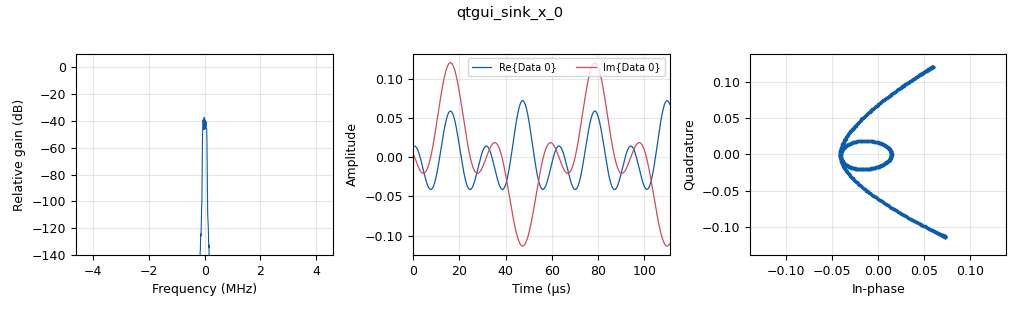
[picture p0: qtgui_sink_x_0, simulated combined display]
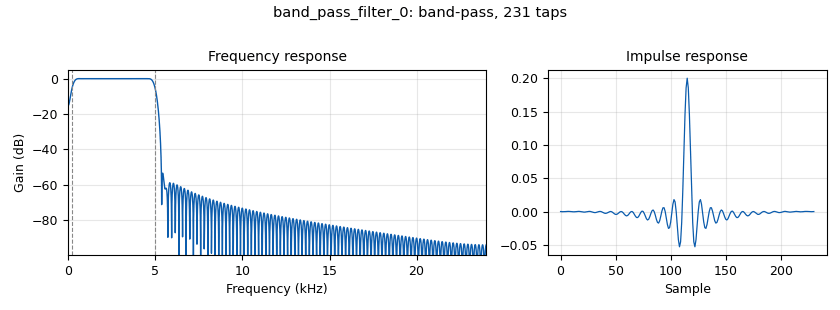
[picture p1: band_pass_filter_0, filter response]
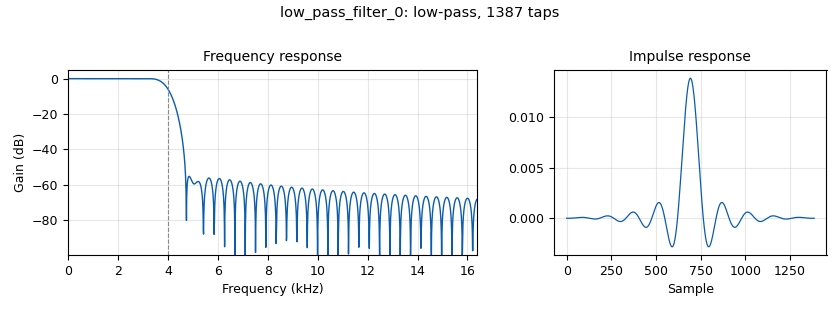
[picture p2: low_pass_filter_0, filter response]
options:
  parameters:
    generate_options: qt_gui
    id: tone_transmit
    output_language: python
    title: Not titled yet
  states: {}

blocks:
- name: amplitude
  id: variable_qtgui_range
  parameters:
    start: '0'
    step: '0.1'
    stop: '5'
    value: '1'
  states: {}
- name: amplitude
  id: variable
  parameters:
    value: '1'
  states: {state: disabled}
- name: audio_rate
  id: variable
  parameters:
    value: int(48e3)
  states: {}
- name: const
  id: variable_qtgui_range
  parameters:
    start: '0'
    step: '0.01'
    stop: '5'
    value: '2'
  states: {}
- name: const
  id: variable
  parameters:
    value: '1.5'
  states: {state: disabled}
- name: gain
  id: variable_qtgui_range
  parameters:
    start: '0'
    step: '1'
    stop: '10'
    value: '0'
  states: {}
- name: gain
  id: variable
  parameters:
    value: '0'
  states: {state: disabled}
- name: interp
  id: variable
  parameters:
    value: '3'
  states: {}
- name: quad_rate
  id: variable
  parameters:
    value: int(audio_rate) << 2
  states: {}
- name: samp_rate
  id: variable
  parameters:
    value: quad_rate * interp
  states: {}
- name: tone
  id: variable_qtgui_range
  parameters:
    start: '0'
    step: '1'
    stop: 10e3
    value: '1000'
  states: {}
- name: tone
  id: variable
  parameters:
    value: 1e3
  states: {state: disabled}
- name: analog_nbfm_tx_0
  id: analog_nbfm_tx
  parameters:
    audio_rate: int(audio_rate)
    fh: '-1.0'
    max_dev: 5e3
    quad_rate: quad_rate
    tau: '75e-6'
  states: {}
- name: analog_sig_source_x_0
  id: analog_sig_source_x
  parameters:
    amp: amplitude
    freq: tone
    offset: '0'
    phase: '0'
    samp_rate: audio_rate
    type: float
    waveform: analog.GR_COS_WAVE
  states: {}
- name: audio_sink_0
  id: audio_sink
  parameters:
    samp_rate: audio_rate
  states: {state: disabled}
- name: band_pass_filter_0
  id: band_pass_filter
  parameters:
    decim: '1'
    gain: '1'
    high_cutoff_freq: 5e3
    low_cutoff_freq: '200'
    samp_rate: audio_rate
    type: fir_filter_fff
    width: '500'
    win: window.WIN_HAMMING
  states: {}
- name: blocks_multiply_const_vxx_0
  id: blocks_multiply_const_vxx
  parameters:
    const: '5e-2'
    type: float
  states: {state: disabled}
- name: blocks_multiply_const_vxx_1
  id: blocks_multiply_const_vxx
  parameters:
    const: 10 ** -(const - 1)
    type: complex
  states: {}
- name: blocks_throttle2_0
  id: blocks_throttle2
  parameters:
    samples_per_second: audio_rate
    type: float
  states: {state: bypassed}
- name: iio_pluto_sink_0
  id: iio_pluto_sink
  parameters:
    attenuation1: gain
    bandwidth: samp_rate
    buffer_size: samp_rate
    cyclic: 'False'
    filter_source: '''Auto'''
    frequency: int(866e6)
    samplerate: samp_rate
    type: fc32
    uri: '"ip:192.168.2.1"'
  states: {}
- name: low_pass_filter_0
  id: low_pass_filter
  parameters:
    cutoff_freq: 4e3
    decim: '1'
    gain: '1'
    samp_rate: samp_rate
    type: fir_filter_ccf
    width: 1e3
    win: window.WIN_HAMMING
  states: {}
- name: qtgui_sink_x_0
  id: qtgui_sink_x
  parameters:
    bw: int(samp_rate) << 4
    fc: '0'
    fftsize: '1024'
    type: complex
  states: {}
- name: rational_resampler_xxx_0
  id: rational_resampler_xxx
  parameters:
    decim: '1'
    interp: interp
    type: ccc
  states: {}
- name: rational_resampler_xxx_1
  id: rational_resampler_xxx
  parameters:
    decim: audio_rate
    interp: samp_rate
    type: ccc
  states: {state: disabled}

connections:
- [analog_nbfm_tx_0, '0', rational_resampler_xxx_0, '0']
- [analog_sig_source_x_0, '0', blocks_multiply_const_vxx_0, '0']
- [analog_sig_source_x_0, '0', blocks_throttle2_0, '0']
- [band_pass_filter_0, '0', analog_nbfm_tx_0, '0']
- [band_pass_filter_0, '0', rational_resampler_xxx_1, '0']
- [blocks_multiply_const_vxx_0, '0', audio_sink_0, '0']
- [blocks_multiply_const_vxx_1, '0', iio_pluto_sink_0, '0']
- [blocks_multiply_const_vxx_1, '0', qtgui_sink_x_0, '0']
- [blocks_throttle2_0, '0', band_pass_filter_0, '0']
- [low_pass_filter_0, '0', blocks_multiply_const_vxx_1, '0']
- [rational_resampler_xxx_0, '0', low_pass_filter_0, '0']
- [rational_resampler_xxx_1, '0', low_pass_filter_0, '0']

metadata:
  file_format: 1
  grc_version: 3.10.10.0
